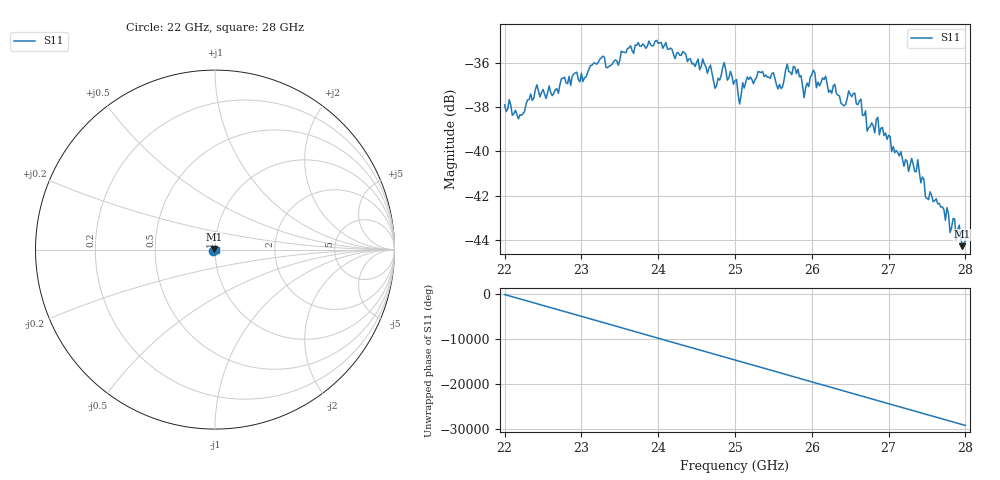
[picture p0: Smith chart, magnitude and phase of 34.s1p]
#  HZ  S  RI  R  50.00
! Rohde & Schwarz ZVA40 4Ports - Version 3.90 - 1145.1110k42 SN: 100403
! Date: 2023-10-04 08:44:01
! Measurement: S12
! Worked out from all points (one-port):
!   301 points, 22 GHz to 28 GHz, reference 50 ohm
!   lowest |S11| = -44.3 dB at 27.96 GHz (marker M1), VSWR 1.01, Z = 49.5 + j0.278 ohm
!   |S11| at or under -10 dB: start of sweep to end of sweep
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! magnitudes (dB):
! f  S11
! 22 GHz  -37.9
! 22.18 GHz  -38.5
! 22.42 GHz  -37.0
! 22.54 GHz  -37.6
! 22.76 GHz  -36.7
! 23.5 GHz  -35.9
! 24.26 GHz  -35.5
! 24.68 GHz  -36.1
! 24.74 GHz  -37.1
! 24.86 GHz  -36.0
! 25 GHz  -36.8
! 25.06 GHz  -37.9
! 25.16 GHz  -36.6
! 25.6 GHz  -37.2
! 25.76 GHz  -36.1
! 25.9 GHz  -37.6
! 26.02 GHz  -36.3
! 26.5 GHz  -37.4
! 27.26 GHz  -40.9
! 27.38 GHz  -40.4
! 27.48 GHz  -42.1
! 27.76 GHz  -42.6
! 27.8 GHz  -43.7
! 27.86 GHz  -43.1
! 27.88 GHz  -44.0
! 27.92 GHz  -43.3
! 27.96 GHz  -44.3
! 28 GHz  -44.0
